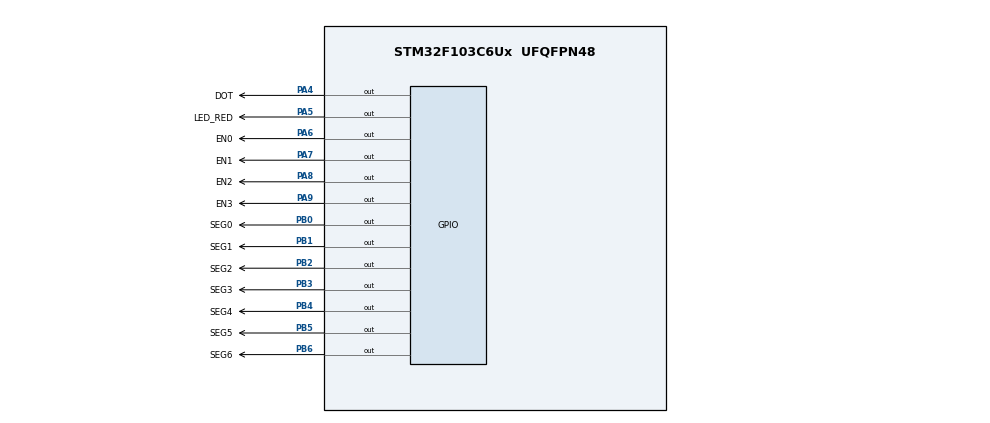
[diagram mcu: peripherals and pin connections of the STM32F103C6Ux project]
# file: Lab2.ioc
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Mcu.Family=STM32F1
Mcu.Name=STM32F103C6Ux
Mcu.Package=UFQFPN48
NVIC.PriorityGroup=NVIC_PRIORITYGROUP_4
NVIC.TIM2_IRQn=true\:0\:0\:false\:false\:true\:true\:true
PA4.GPIO_Label=DOT
PA4.Signal=GPIO_Output
PA5.GPIO_Label=LED_RED
PA5.Signal=GPIO_Output
PA6.GPIO_Label=EN0
PA6.Signal=GPIO_Output
PA7.GPIO_Label=EN1
PA7.Signal=GPIO_Output
PA8.GPIO_Label=EN2
PA8.Signal=GPIO_Output
PA9.GPIO_Label=EN3
PA9.Signal=GPIO_Output
PB0.GPIO_Label=SEG0
PB0.Signal=GPIO_Output
PB1.GPIO_Label=SEG1
PB1.Signal=GPIO_Output
PB2.GPIO_Label=SEG2
PB2.Signal=GPIO_Output
PB3.GPIO_Label=SEG3
PB3.Signal=GPIO_Output
PB4.GPIO_Label=SEG4
PB4.Signal=GPIO_Output
PB5.GPIO_Label=SEG5
PB5.Signal=GPIO_Output
PB6.GPIO_Label=SEG6
PB6.Signal=GPIO_Output
ProjectManager.HeapSize=0x200
ProjectManager.StackSize=0x400
ProjectManager.TargetToolchain=STM32CubeIDE
RCC.APB1Freq_Value=8000000
RCC.APB2Freq_Value=8000000
TIM2.Period=9
TIM2.Prescaler=7999
VP_SYS_VS_ND.Mode=No_Debug
VP_TIM2_VS_ClockSourceINT.Mode=Internal
board=custom

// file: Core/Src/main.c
/* USER CODE BEGIN Header */
/**
  ******************************************************************************
  * @file           : main.c
  * @brief          : Main program body
  ******************************************************************************
  * @attention
  *
  * <h2><center>&copy; Copyright (c) 2024 STMicroelectronics.
  * All rights reserved.</center></h2>
  *
  * This software component is licensed by ST under BSD 3-Clause license,
  * the "License"; You may not use this file except in compliance with the
  * License. You may obtain a copy of the License at:
  *                        opensource.org/licenses/BSD-3-Clause
  *
  ******************************************************************************
  */
/* USER CODE END Header */
#include "main.h"

/* USER CODE BEGIN Includes */
#include "software_timer.h"
/* USER CODE END Includes */

TIM_HandleTypeDef htim2;

void SystemClock_Config(void);
static void MX_GPIO_Init(void);
static void MX_TIM2_Init(void);

/* USER CODE BEGIN 0 */
void display7SEG(int number);
/* USER CODE END 0 */

int main(void)
{

  /* MCU Configuration--------------------------------------------------------*/

  /* Reset of all peripherals, Initializes the Flash interface and the Systick. */
  HAL_Init();

  /* Configure the system clock */
  SystemClock_Config();

  /* Initialize all configured peripherals */
  MX_GPIO_Init();
  MX_TIM2_Init();
  /* USER CODE BEGIN 2 */
  HAL_TIM_Base_Start_IT(&htim2);
  /* USER CODE END 2 */

  /* Infinite loop */
  /* USER CODE BEGIN WHILE */
  setTimer1(50);
  setTimer2(50);
  setTimer3(100);
  setTimer4(150);
  setTimer5(200);
  while (1)
  {
	  if(timer1_flag == 1){
		  setTimer1(50);
		  //TODO
		  HAL_GPIO_TogglePin(GPIOA, DOT_Pin);
	  }
	  if(timer2_flag == 1){
		  setTimer2(200);
		  //TODO
		  HAL_GPIO_WritePin(GPIOA, EN0_Pin, RESET);
		  HAL_GPIO_WritePin(GPIOA, EN1_Pin, SET);
		  HAL_GPIO_WritePin(GPIOA, EN2_Pin, SET);
		  HAL_GPIO_WritePin(GPIOA, EN3_Pin, SET);
		  display7SEG(1);
	  }
	  if(timer3_flag == 1){
		  setTimer3(200);
		  //TODO
		  HAL_GPIO_WritePin(GPIOA, EN1_Pin, RESET);
		  HAL_GPIO_WritePin(GPIOA, EN0_Pin, SET);
		  HAL_GPIO_WritePin(GPIOA, EN2_Pin, SET);
		  HAL_GPIO_WritePin(GPIOA, EN3_Pin, SET);
		  display7SEG(2);
	  }
	  if(timer4_flag == 1){
		  setTimer4(200);
		  //TODO
		  HAL_GPIO_WritePin(GPIOA, EN2_Pin, RESET);
		  HAL_GPIO_WritePin(GPIOA, EN0_Pin, SET);
		  HAL_GPIO_WritePin(GPIOA, EN1_Pin, SET);
		  HAL_GPIO_WritePin(GPIOA, EN3_Pin, SET);
		  display7SEG(3);
	  }
	  if(timer5_flag == 1){
		  setTimer5(200);
		  //TODO
		  HAL_GPIO_WritePin(GPIOA, EN3_Pin, RESET);
		  HAL_GPIO_WritePin(GPIOA, EN0_Pin, SET);
		  HAL_GPIO_WritePin(GPIOA, EN2_Pin, SET);
		  HAL_GPIO_WritePin(GPIOA, EN1_Pin, SET);
		  display7SEG(0);
	  }

    /* USER CODE END WHILE */

  }
}

void SystemClock_Config(void)
{
  RCC_OscInitTypeDef RCC_OscInitStruct = {0};
  RCC_ClkInitTypeDef RCC_ClkInitStruct = {0};

  /** Initializes the RCC Oscillators according to the specified parameters
  * in the RCC_OscInitTypeDef structure.
  */
  RCC_OscInitStruct.OscillatorType = RCC_OSCILLATORTYPE_HSI;
  RCC_OscInitStruct.HSIState = RCC_HSI_ON;
  RCC_OscInitStruct.HSICalibrationValue = RCC_HSICALIBRATION_DEFAULT;
  RCC_OscInitStruct.PLL.PLLState = RCC_PLL_NONE;
  if (HAL_RCC_OscConfig(&RCC_OscInitStruct) != HAL_OK)
  {
    Error_Handler();
  }
  /** Initializes the CPU, AHB and APB buses clocks
  */
  RCC_ClkInitStruct.ClockType = RCC_CLOCKTYPE_HCLK|RCC_CLOCKTYPE_SYSCLK
                              |RCC_CLOCKTYPE_PCLK1|RCC_CLOCKTYPE_PCLK2;
  RCC_ClkInitStruct.SYSCLKSource = RCC_SYSCLKSOURCE_HSI;
  RCC_ClkInitStruct.AHBCLKDivider = RCC_SYSCLK_DIV1;
  RCC_ClkInitStruct.APB1CLKDivider = RCC_HCLK_DIV1;
  RCC_ClkInitStruct.APB2CLKDivider = RCC_HCLK_DIV1;

  if (HAL_RCC_ClockConfig(&RCC_ClkInitStruct, FLASH_LATENCY_0) != HAL_OK)
  {
    Error_Handler();
  }
}

static void MX_TIM2_Init(void)
{

  TIM_ClockConfigTypeDef sClockSourceConfig = {0};
  TIM_MasterConfigTypeDef sMasterConfig = {0};

  htim2.Instance = TIM2;
  htim2.Init.Prescaler = 7999;
  htim2.Init.CounterMode = TIM_COUNTERMODE_UP;
  htim2.Init.Period = 9;
  htim2.Init.ClockDivision = TIM_CLOCKDIVISION_DIV1;
  htim2.Init.AutoReloadPreload = TIM_AUTORELOAD_PRELOAD_DISABLE;
  if (HAL_TIM_Base_Init(&htim2) != HAL_OK)
  {
    Error_Handler();
  }
  sClockSourceConfig.ClockSource = TIM_CLOCKSOURCE_INTERNAL;
  if (HAL_TIM_ConfigClockSource(&htim2, &sClockSourceConfig) != HAL_OK)
  {
    Error_Handler();
  }
  sMasterConfig.MasterOutputTrigger = TIM_TRGO_RESET;
  sMasterConfig.MasterSlaveMode = TIM_MASTERSLAVEMODE_DISABLE;
  if (HAL_TIMEx_MasterConfigSynchronization(&htim2, &sMasterConfig) != HAL_OK)
  {
    Error_Handler();
  }

}

static void MX_GPIO_Init(void)
{
  GPIO_InitTypeDef GPIO_InitStruct = {0};

  /* GPIO Ports Clock Enable */
  __HAL_RCC_GPIOA_CLK_ENABLE();
  __HAL_RCC_GPIOB_CLK_ENABLE();

  /*Configure GPIO pin Output Level */
  HAL_GPIO_WritePin(GPIOA, DOT_Pin|LED_RED_Pin|EN0_Pin|EN1_Pin
                          |EN2_Pin|EN3_Pin, GPIO_PIN_RESET);

  /*Configure GPIO pin Output Level */
  HAL_GPIO_WritePin(GPIOB, SEG0_Pin|SEG1_Pin|SEG2_Pin|SEG3_Pin
                          |SEG4_Pin|SEG5_Pin|SEG6_Pin, GPIO_PIN_RESET);

  /*Configure GPIO pins : DOT_Pin LED_RED_Pin EN0_Pin EN1_Pin
                           EN2_Pin EN3_Pin */
  GPIO_InitStruct.Pin = DOT_Pin|LED_RED_Pin|EN0_Pin|EN1_Pin
                          |EN2_Pin|EN3_Pin;
  GPIO_InitStruct.Mode = GPIO_MODE_OUTPUT_PP;
  GPIO_InitStruct.Pull = GPIO_NOPULL;
  GPIO_InitStruct.Speed = GPIO_SPEED_FREQ_LOW;
  HAL_GPIO_Init(GPIOA, &GPIO_InitStruct);

  /*Configure GPIO pins : SEG0_Pin SEG1_Pin SEG2_Pin SEG3_Pin
                           SEG4_Pin SEG5_Pin SEG6_Pin */
  GPIO_InitStruct.Pin = SEG0_Pin|SEG1_Pin|SEG2_Pin|SEG3_Pin
                          |SEG4_Pin|SEG5_Pin|SEG6_Pin;
  GPIO_InitStruct.Mode = GPIO_MODE_OUTPUT_PP;
  GPIO_InitStruct.Pull = GPIO_NOPULL;
  GPIO_InitStruct.Speed = GPIO_SPEED_FREQ_LOW;
  HAL_GPIO_Init(GPIOB, &GPIO_InitStruct);

}

/* USER CODE BEGIN 4 */
void HAL_TIM_PeriodElapsedCallback(TIM_HandleTypeDef *htim){
	timerRun();
}

void display7SEG(int number) {
    if (number < 0 || number > 9) return;

    switch (number)
        {
        case 0:
            HAL_GPIO_WritePin(GPIOB, SEG6_Pin, GPIO_PIN_SET);
            HAL_GPIO_WritePin(GPIOB, SEG0_Pin | SEG1_Pin | SEG2_Pin | SEG3_Pin | SEG4_Pin | SEG5_Pin, GPIO_PIN_RESET);
            break;
        case 1:
            HAL_GPIO_WritePin(GPIOB, SEG1_Pin | SEG2_Pin, GPIO_PIN_RESET);
            HAL_GPIO_WritePin(GPIOB, SEG0_Pin | SEG3_Pin | SEG4_Pin | SEG5_Pin | SEG6_Pin, GPIO_PIN_SET);
            break;
        case 2:
            HAL_GPIO_WritePin(GPIOB, SEG5_Pin | SEG2_Pin, GPIO_PIN_SET);
            HAL_GPIO_WritePin(GPIOB, SEG0_Pin | SEG1_Pin | SEG3_Pin | SEG4_Pin | SEG6_Pin, GPIO_PIN_RESET);
            break;
        case 3:
            HAL_GPIO_WritePin(GPIOB, SEG5_Pin | SEG4_Pin, GPIO_PIN_SET);
            HAL_GPIO_WritePin(GPIOB, SEG0_Pin | SEG1_Pin | SEG2_Pin | SEG3_Pin | SEG6_Pin, GPIO_PIN_RESET);
            break;
        case 4:
            HAL_GPIO_WritePin(GPIOB, SEG0_Pin | SEG4_Pin | SEG3_Pin, GPIO_PIN_SET);
            HAL_GPIO_WritePin(GPIOB, SEG1_Pin | SEG2_Pin | SEG5_Pin | SEG6_Pin, GPIO_PIN_RESET);
            break;
        case 5:
            HAL_GPIO_WritePin(GPIOB, SEG1_Pin | SEG4_Pin, GPIO_PIN_SET);
            HAL_GPIO_WritePin(GPIOB, SEG0_Pin | SEG2_Pin | SEG3_Pin | SEG5_Pin | SEG6_Pin, GPIO_PIN_RESET);
            break;
        case 6:
            HAL_GPIO_WritePin(GPIOB, SEG1_Pin, GPIO_PIN_SET);
            HAL_GPIO_WritePin(GPIOB, SEG0_Pin | SEG2_Pin | SEG3_Pin | SEG4_Pin | SEG5_Pin | SEG6_Pin, GPIO_PIN_RESET);
            break;
        case 7:
            HAL_GPIO_WritePin(GPIOB, SEG5_Pin | SEG6_Pin | SEG4_Pin | SEG3_Pin, GPIO_PIN_SET);
            HAL_GPIO_WritePin(GPIOB, SEG0_Pin | SEG1_Pin | SEG2_Pin, GPIO_PIN_RESET);
            break;
        case 8:
            HAL_GPIO_WritePin(GPIOB, SEG0_Pin | SEG1_Pin | SEG2_Pin | SEG3_Pin | SEG4_Pin | SEG5_Pin | SEG6_Pin, GPIO_PIN_RESET);
            break;
        case 9:
            HAL_GPIO_WritePin(GPIOB, SEG4_Pin, GPIO_PIN_SET);
            HAL_GPIO_WritePin(GPIOB, SEG0_Pin | SEG1_Pin | SEG2_Pin | SEG3_Pin | SEG5_Pin | SEG6_Pin, GPIO_PIN_RESET);
            break;
        default:
            break;
        }
}

/* USER CODE END 4 */

void Error_Handler(void)
{
  __disable_irq();
  while (1)
  {
  }
}

/************************ (C) COPYRIGHT STMicroelectronics *****END OF FILE****/
